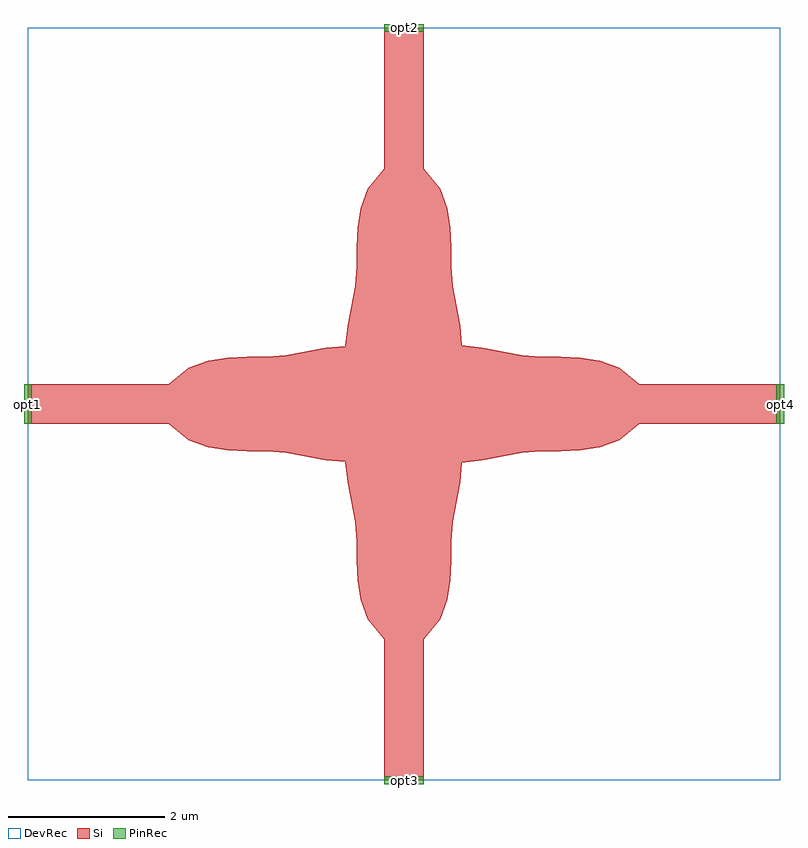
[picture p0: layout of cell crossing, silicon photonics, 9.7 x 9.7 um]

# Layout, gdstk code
import gdstk
lib = gdstk.Library(unit=1e-6, precision=1e-09)
def R(c, l, rs):  # rectangles x0, y0, x1, y1
    for r in rs: c.add(gdstk.rectangle(r[:2], r[2:], *l))
def P(c, l, *ps):  # polygons
    for p in ps: c.add(gdstk.Polygon(p, *l))
Si = (1, 0)
PinRec = (1, 10)
DevRec = (68, 0)

crossing = lib.new_cell('crossing')
P(crossing, Si, [(-0.25,-4.8),(-0.25,-3),(-0.46,-2.75),(-0.55,-2.5),(-0.59,-2.25),(-0.6,-2),(-0.6,-1.75),(-0.62,-1.5),(-0.72,-1),(-0.75,-0.74),(-1,-0.72),(-1.5,-0.62),(-1.75,-0.6),(-2,-0.6),(-2.25,-0.59),(-2.5,-0.55),(-2.75,-0.46),(-3,-0.25),(-4.8,-0.25),(-4.8,0.25),(-3,0.25),(-2.75,0.46),(-2.5,0.55),(-2.25,0.59),(-2,0.6),(-1.75,0.6),(-1.5,0.62),(-1,0.72),(-0.75,0.74),(-0.72,1),(-0.62,1.5),(-0.6,1.75),(-0.6,2),(-0.59,2.25),(-0.55,2.5),(-0.46,2.75),(-0.25,3),(-0.25,4.8),(0.25,4.8),(0.25,3),(0.46,2.75),(0.55,2.5),(0.59,2.25),(0.6,2),(0.6,1.75),(0.62,1.5),(0.72,1),(0.74,0.75),(1,0.72),(1.5,0.62),(1.75,0.6),(2,0.6),(2.25,0.59),(2.5,0.55),(2.75,0.46),(3,0.25),(4.8,0.25),(4.8,-0.25),(3,-0.25),(2.75,-0.46),(2.5,-0.55),(2.25,-0.59),(2,-0.6),(1.75,-0.6),(1.5,-0.62),(1,-0.72),(0.74,-0.75),(0.72,-1),(0.62,-1.5),(0.6,-1.75),(0.6,-2),(0.59,-2.25),(0.55,-2.5),(0.46,-2.75),(0.25,-3),(0.25,-4.8)])
R(crossing, DevRec, [(-4.8,-4.8,4.8,4.8)])
crossing.add(gdstk.FlexPath([(-4.75,0),(-4.85,0)], 0.5, ends="flush", simple_path=True, layer=1, datatype=10))  # PinRec
crossing.add(gdstk.FlexPath([(0,4.75),(0,4.85)], 0.5, ends="flush", simple_path=True, layer=1, datatype=10))  # PinRec
crossing.add(gdstk.FlexPath([(4.75,0),(4.85,0)], 0.5, ends="flush", simple_path=True, layer=1, datatype=10))  # PinRec
crossing.add(gdstk.FlexPath([(0,-4.75),(0,-4.85)], 0.5, ends="flush", simple_path=True, layer=1, datatype=10))  # PinRec
crossing.add(gdstk.Label('opt1', (-4.8,0), layer=1, texttype=10))
crossing.add(gdstk.Label('opt2', (0,4.8), layer=1, texttype=10))
crossing.add(gdstk.Label('opt4', (4.8,0), layer=1, texttype=10))
crossing.add(gdstk.Label('opt3', (0,-4.8), layer=1, texttype=10))

lib.write_gds('crossing.gds')
